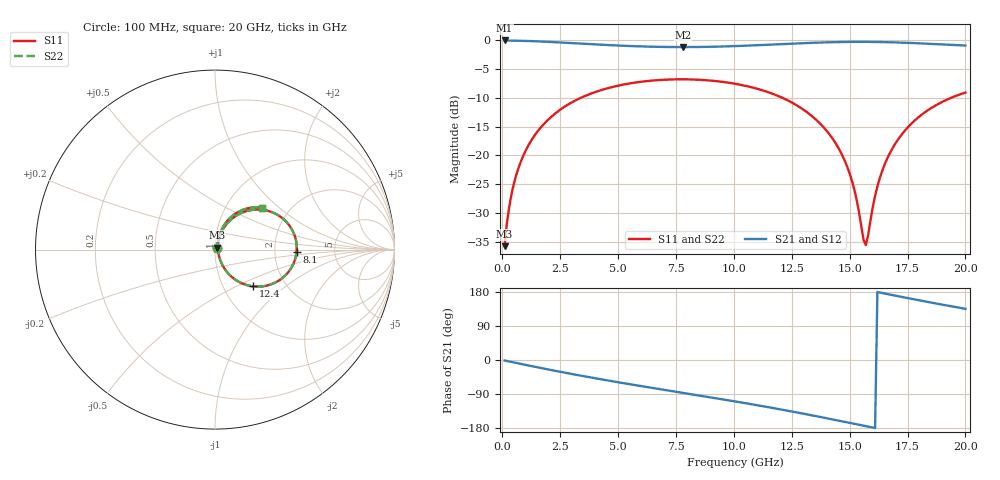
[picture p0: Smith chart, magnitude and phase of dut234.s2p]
! Touchstone file exported from HFSS 2026.1.0
!  File:  C:/ffzhzh/LocalFiles/Ansys_Project_Files/temp_train_TSV_RDL_234_1783065146_45820.aedt
!  Generated:  04:03:18 PM Jul  3, 2026
!  Design:  TSV_RDL
!  Project:  temp_train_TSV_RDL_234_1783065146_45820
! Variables:
!  h_bsmrdl = 5.57um
!  h_ox = 20um
!  h_rdl = 5um
!  h_sub = 77.11um
!  h_tmrdl = 4.16um
!  h_tsv = 77.11um
!  h_via = 3um
!  l_bsmrdl = 871.78um
!  l_sub = 3775.41um
!  l_tmrdl = 155.48um
!  m_sub = 200um
!  pitch = 51.6um
!  r_tsv = 7.01um
!  s_tmrdl = 10um
!  w_bsmrdl = 29.34um
!  w_sub = 500um
!  w_tmrdl = 16.71um
!  x_tsv_center1 = 163.835um
!  x_tsv_center2 = 1064.955um
!  x_tsv_center3 = 1237.145um
!  x_tsv_center4 = 2138.265um
!  x_tsv_center5 = 2310.455um
!  x_tsv_center6 = 3211.575um
# GHz S MA R 50.000000
! Terminal data exported
! Port[1] = TM_RDL1_1_T1
! Port[2] = TM_RDL5_1_T1
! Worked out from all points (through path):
!   200 points, 100 MHz to 20 GHz, reference 50 ohm
!   highest |S21| = -0.10 dB at 100 MHz (marker M1); lowest = -1.2 dB at 7.8 GHz (marker M2)
!   group delay of S21, straight-line fit = 30.6 ps
!   lowest |S11| = -35.7 dB at 100 MHz (marker M3), VSWR 1.03, Z = 51.1 + j1.19 ohm
!   |S11| at or under -10 dB: start of sweep to 3.408 GHz; 12.08 GHz to 19.4 GHz (7.325 GHz wide, 46.5 % of centre)
!   |S22| runs from -35.7 to -6.8 dB; largest |S21 - S12| = 2e-14
!   S11 on the Smith chart (normalised r, x): 100 MHz: 1.02, +0.02; 8.1 GHz: 2.67, -0.08; 12.4 GHz: 1.38, -0.62; 20 GHz: 1.46, +0.78
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0.1  0.01636 45.4  0.9887 -1.3  0.9887 -1.3  0.01636 45.4
! Gamma 0 0 0 0
! Port Impedance 50 0 50 0
0.3  0.03604 65.9  0.987 -3.9  0.987 -3.9  0.03604 65.9
0.5  0.05682 70.3  0.9855 -6.5  0.9855 -6.5  0.05682 70.3
1.1  0.1191 68.9  0.9783 -14.1  0.9783 -14.1  0.1191 68.9
2.1  0.2146 59.0  0.9592 -26.4  0.9592 -26.4  0.2146 59.0
3.5  0.3223 43.8  0.9258 -42.6  0.9258 -42.6  0.3223 43.8
6.8  0.4495 10.9  0.8699 -76.8  0.8699 -76.8  0.4495 10.9
7.8  0.4557 1.4  0.8665 -86.7  0.8665 -86.7  0.4557 1.4
8.1  0.4548 -1.5  0.8668 -89.6  0.8668 -89.6  0.4548 -1.5
10.1  0.4153 -20.7  0.8842 -109.7  0.8842 -109.7  0.4153 -20.7
12.4  0.2943 -44.1  0.9259 -134.7  0.9259 -134.7  0.2943 -44.0
13.4  0.2166 -54.3  0.9438 -146.3  0.9438 -146.3  0.2166 -54.2
14.2  0.1456 -61.5  0.9547 -156.0  0.9547 -156.0  0.1456 -61.5
14.8  0.08888 -64.5  0.9597 -163.3  0.9597 -163.3  0.08891 -64.4
15.2  0.05078 -61.0  0.9614 -168.3  0.9614 -168.3  0.05085 -60.7
15.6  0.01856 -21.3  0.9615 -173.3  0.9615 -173.3  0.01878 -20.9
15.7  0.01673 9.7  0.9613 -174.5  0.9613 -174.5  0.01698 9.7
16.2  0.05384 69.8  0.9589 179.3  0.9589 179.3  0.05393 69.5
16.7  0.101 72.3  0.9542 173.2  0.9542 173.2  0.1011 72.1
17.3  0.1562 68.5  0.9462 165.9  0.9462 165.9  0.1562 68.4
18  0.2161 62.1  0.934 157.6  0.934 157.6  0.2161 62.0
20  0.3499 42.0  0.8935 135.1  0.8935 135.1  0.3499 41.9
